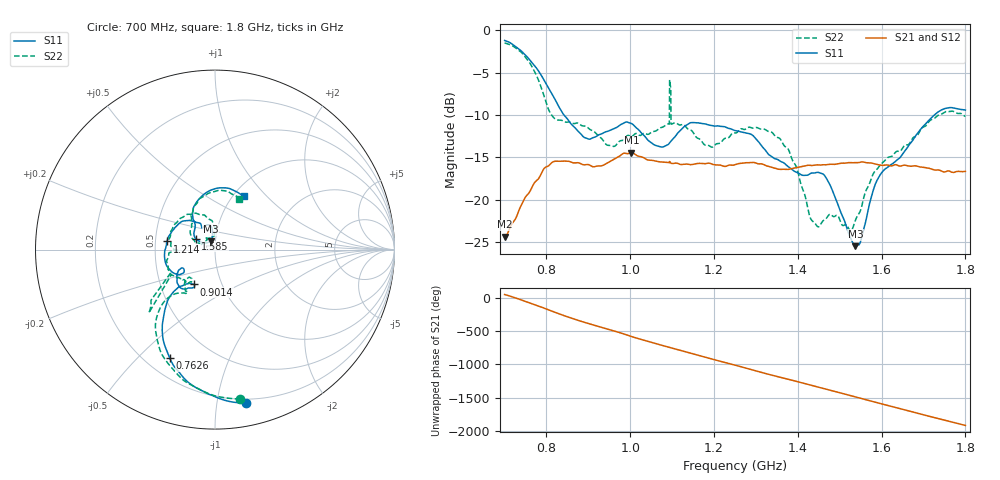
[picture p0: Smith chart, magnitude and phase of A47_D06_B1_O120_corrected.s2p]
! Created with skrf 1.9.0 (http://scikit-rf.org).
# Hz S RI R 50.0
!freq ReS11 ImS11 ReS21 ImS21 ReS12 ImS12 ReS22 ImS22
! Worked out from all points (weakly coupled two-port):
!   1601 points, 700 MHz to 1.8 GHz, reference 50 ohm
!   highest |S21| = -14.47 dB at 1.002 GHz (marker M1); lowest = -24.4 dB at 700.7 MHz (marker M2)
!   lowest |S11| = -25.5 dB at 1.537 GHz (marker M3), VSWR 1.11, Z = 47.4 + j4.49 ohm
!   |S11| at or under -10 dB: 841.7 MHz to 1.726 GHz (884.4 MHz wide, 68.9 % of centre)
!   |S22| runs from -23.7 to -1.5 dB; largest |S21 - S12| = 0.0035
!   S11 on the Smith chart (normalised r, x): 700 MHz: 0.17, -1.21; 762.6 MHz: 0.29, -0.63; 901.4 MHz: 0.74, -0.30; 1.214 GHz: 0.58, +0.06; 1.585 GHz: 0.80, +0.10; 1.8 GHz: 1.12, +0.75
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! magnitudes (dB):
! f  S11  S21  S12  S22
! 700 MHz  -1.2  -24.4  -24.2  -1.5
! 700.7 MHz  -1.2  -24.4  -24.1  -1.5
! 762.6 MHz  -3.7  -18.8  -18.8  -4.0
! 815.5 MHz  -7.7  -15.5  -15.6  -10.2
! 883.6 MHz  -12.3  -15.8  -15.7  -11.2
! 901.4 MHz  -12.9  -15.9  -15.9  -11.6
! 957.1 MHz  -11.7  -15.3  -15.3  -13.7
! 1.002 GHz  -11.0  -14.5  -14.6  -12.6
! 1.067 GHz  -13.7  -15.5  -15.5  -11.7
! 1.099 GHz  -13.0  -15.7  -15.7  -11.1
! 1.144 GHz  -10.9  -15.9  -15.9  -11.8
! 1.214 GHz  -11.3  -15.9  -15.9  -13.3
! 1.25 GHz  -11.8  -15.9  -15.8  -12.1
! 1.358 GHz  -15.5  -16.4  -16.4  -12.8
! 1.396 GHz  -16.7  -16.2  -16.2  -16.1
! 1.434 GHz  -16.9  -16.0  -15.9  -22.5
! 1.469 GHz  -17.5  -15.9  -15.9  -22.2
! 1.537 GHz  -25.5  -15.6  -15.6  -22.5
! 1.585 GHz  -18.1  -15.8  -15.8  -16.6
! 1.617 GHz  -16.1  -16.0  -15.9  -15.0
! 1.733 GHz  -9.7  -16.5  -16.5  -10.1
! 1.8 GHz  -9.4  -16.7  -16.7  -10.2
